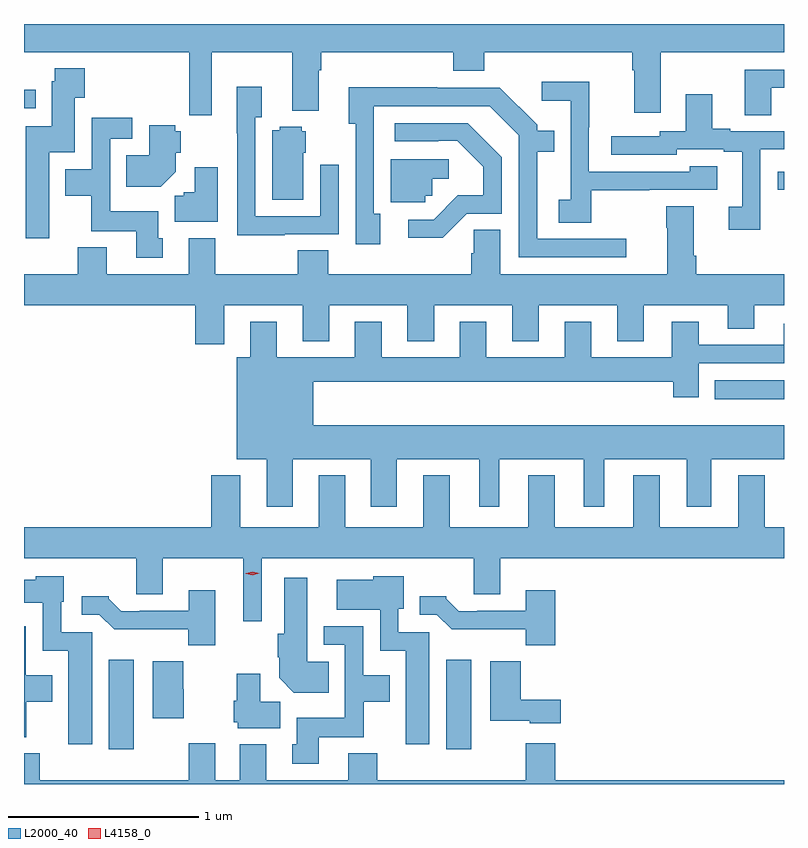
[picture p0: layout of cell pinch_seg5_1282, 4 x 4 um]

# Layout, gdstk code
import gdstk
lib = gdstk.Library(unit=1e-6, precision=1e-09)
def R(c, l, rs):  # rectangles x0, y0, x1, y1
    for r in rs: c.add(gdstk.rectangle(r[:2], r[2:], *l))
def P(c, l, *ps):  # polygons
    for p in ps: c.add(gdstk.Polygon(p, *l))
L2000_40 = (2000, 40)
L4158_0 = (4158, 0)

pinch_seg5_1282 = lib.new_cell('pinch_seg5_1282')
R(pinch_seg5_1282, L2000_40, [(394.235,857.088,394.366,857.557), (396.011,857.088,396.142,857.557), (397.424,858.929,397.789,859.03), (397.755,860.031,397.789,860.126), (393.789,860.46,393.85,860.557)])
P(pinch_seg5_1282, L2000_40, [(394.777,860.756),(395.201,860.756),(395.201,860.447),(395.341,860.447),(395.341,860.66),(395.354,860.66),(395.354,860.756),(396.047,860.756),(396.047,860.657),(396.212,860.657),(396.212,860.756),(396.989,860.756),(396.989,860.66),(397.001,860.66),(397.001,860.436),(397.141,860.436),(397.141,860.756),(397.789,860.756),(397.789,860.904),(393.789,860.904),(393.789,860.756),(394.66,860.756),(394.66,860.424),(394.777,860.424)],
  [(393.922,860.228),(394.057,860.228),(394.057,860.515),(394.109,860.515),(394.109,860.671),(393.952,860.671),(393.952,860.604),(393.935,860.604),(393.935,860.367),(393.797,860.367),(393.797,859.776),(393.922,859.776)],
  [(397.723,860.568),(397.789,860.568),(397.789,860.664),(397.583,860.664),(397.583,860.425),(397.723,860.425)],
  [(396.775,860.029),(397.079,860.029),(397.079,860.031),(397.438,860.031),(397.438,860.155),(397.293,860.155),(397.293,860.127),(396.762,860.127),(396.762,860.36),(396.765,860.36),(396.765,860.599),(396.513,860.599),(396.513,860.501),(396.666,860.501),(396.666,859.98),(396.603,859.98),(396.603,859.858),(396.775,859.858)],
  [(395.161,859.797),(395.445,859.797),(395.445,860.164),(395.349,860.164),(395.349,859.893),(395.007,859.893),(395.007,860.414),(395.041,860.414),(395.041,860.575),(394.91,860.575),(394.91,860.33),(394.911,860.33),(394.911,859.793),(395.161,859.793)],
  [(396.958,859.773),(396.49,859.773),(396.49,860.232),(396.581,860.232),(396.581,860.341),(396.489,860.341),(396.489,860.373),(396.294,860.568),(395.963,860.568),(395.963,860.57),(395.498,860.57),(395.498,860.378),(395.535,860.378),(395.535,859.746),(395.665,859.746),(395.665,859.906),(395.631,859.906),(395.631,860.472),(396.24,860.472),(396.393,860.319),(396.393,859.677),(396.958,859.677)],
  [(397.665,860.244),(397.789,860.244),(397.789,860.34),(397.507,860.34),(397.507,860.353),(397.411,860.353),(397.411,860.533),(397.271,860.533),(397.271,860.34),(397.134,860.34),(397.134,860.313),(396.879,860.313),(396.879,860.217),(397.224,860.217),(397.224,860.244),(397.472,860.244),(397.472,860.232),(397.568,860.232),(397.568,859.941),(397.497,859.941),(397.497,859.821),(397.665,859.821)],
  [(394.519,859.776),(394.495,859.776),(394.495,859.918),(394.242,859.918),(394.242,860.301),(394.36,860.301),(394.36,860.41),(394.146,860.41),(394.146,860.14),(394.007,860.14),(394.007,860),(394.144,860),(394.144,859.814),(394.379,859.814),(394.379,859.674),(394.519,859.674)],
  [(396.12,859.905),(396.303,859.905),(396.303,860.203),(396.124,860.382),(395.739,860.382),(395.739,860.286),(395.969,860.286),(395.969,860.289),(396.069,860.289),(396.206,860.152),(396.206,860.002),(396.073,860.002),(395.946,859.875),(395.811,859.875),(395.811,859.778),(395.992,859.778)],
  [(394.588,860.126),(394.588,860.226),(394.614,860.226),(394.614,860.34),(394.584,860.34),(394.584,860.37),(394.448,860.37),(394.448,860.212),(394.327,860.212),(394.327,860.048),(394.51,860.048)],
  [(395.26,860.226),(395.272,860.226),(395.272,860.34),(395.25,860.34),(395.25,860.362),(395.136,860.362),(395.136,860.344),(395.096,860.344),(395.096,859.978),(395.26,859.978)],
  [(395.901,860.001),(395.937,860.001),(395.937,860.09),(396.025,860.09),(396.025,860.193),(395.72,860.193),(395.72,859.965),(395.901,859.965)],
  [(394.81,860.149),(394.688,860.149),(394.688,860.018),(394.629,860.018),(394.629,860),(394.583,860),(394.583,859.862),(394.81,859.862)],
  [(394.843,859.424),(395.255,859.424),(395.255,859.235),(395.395,859.235),(395.395,859.424),(395.807,859.424),(395.807,859.235),(395.947,859.235),(395.947,859.424),(396.359,859.424),(396.359,859.235),(396.499,859.235),(396.499,859.424),(396.911,859.424),(396.911,859.235),(397.051,859.235),(397.051,859.424),(397.493,859.424),(397.493,859.3),(397.633,859.3),(397.633,859.424),(397.789,859.424),(397.789,859.588),(397.328,859.588),(397.328,859.684),(397.315,859.684),(397.315,859.945),(397.168,859.945),(397.168,859.832),(397.175,859.832),(397.175,859.588),(396.295,859.588),(396.295,859.82),(396.157,859.82),(396.157,859.698),(396.143,859.698),(396.143,859.588),(395.39,859.588),(395.39,859.712),(395.23,859.712),(395.23,859.588),(394.795,859.588),(394.795,859.777),(394.655,859.777),(394.655,859.588),(394.225,859.588),(394.225,859.729),(394.073,859.729),(394.073,859.588),(393.789,859.588),(393.789,859.424),(394.691,859.424),(394.691,859.218),(394.843,859.218)],
  [(395.203,858.614),(395.615,858.614),(395.615,858.363),(395.752,858.363),(395.752,858.614),(396.185,858.614),(396.185,858.363),(396.289,858.363),(396.289,858.614),(396.734,858.614),(396.734,858.363),(396.844,858.363),(396.844,858.614),(397.277,858.614),(397.277,858.363),(397.405,858.363),(397.405,858.614),(397.789,858.614),(397.789,858.793),(395.311,858.793),(395.311,859.022),(397.205,859.022),(397.205,858.939),(397.339,858.939),(397.339,859.119),(397.789,859.119),(397.789,859.327),(397.787,859.327),(397.787,859.215),(397.339,859.215),(397.339,859.336),(397.199,859.336),(397.199,859.15),(396.775,859.15),(396.775,859.336),(396.635,859.336),(396.635,859.15),(396.223,859.15),(396.223,859.336),(396.083,859.336),(396.083,859.15),(395.671,859.15),(395.671,859.336),(395.531,859.336),(395.531,859.15),(395.119,859.15),(395.119,859.336),(394.979,859.336),(394.979,859.15),(394.91,859.15),(394.91,858.614),(395.066,858.614),(395.066,858.363),(395.203,858.363)],
  [(395.04,858.092),(396.155,858.092),(396.155,857.902),(396.295,857.902),(396.295,858.092),(397.789,858.092),(397.789,858.256),(397.687,858.256),(397.687,858.529),(397.547,858.529),(397.547,858.256),(397.135,858.256),(397.135,858.529),(396.995,858.529),(396.995,858.256),(396.583,858.256),(396.583,858.529),(396.443,858.529),(396.443,858.256),(396.031,858.256),(396.031,858.529),(395.891,858.529),(395.891,858.256),(395.479,858.256),(395.479,858.529),(395.339,858.529),(395.339,858.256),(394.927,858.256),(394.927,858.529),(394.775,858.529),(394.775,858.256),(393.789,858.256),(393.789,858.092),(394.379,858.092),(394.379,857.902),(394.519,857.902),(394.519,858.092),(394.943,858.092),(394.943,857.76),(395.04,857.76)],
  [(395.923,857.703),(395.76,857.703),(395.76,857.826),(395.788,857.826),(395.788,857.998),(395.628,857.998),(395.628,857.98),(395.436,857.98),(395.436,857.822),(395.664,857.822),(395.664,857.606),(395.798,857.606),(395.798,857.112),(395.923,857.112)],
  [(394.147,857.703),(393.984,857.703),(393.984,857.862),(393.997,857.862),(393.997,857.998),(393.852,857.998),(393.852,857.98),(393.789,857.98),(393.789,857.858),(393.888,857.858),(393.888,857.606),(394.022,857.606),(394.022,857.112),(394.147,857.112)],
  [(395.393,857.548),(395.281,857.548),(395.281,857.989),(395.159,857.989),(395.159,857.694),(395.125,857.694),(395.125,857.572),(395.132,857.572),(395.132,857.462),(395.21,857.384),(395.393,857.384)],
  [(394.795,857.923),(394.655,857.923),(394.655,857.817),(394.399,857.817),(394.399,857.814),(394.3,857.814),(394.236,857.878),(394.236,857.893),(394.092,857.893),(394.092,857.796),(394.185,857.796),(394.264,857.718),(394.653,857.718),(394.653,857.633),(394.795,857.633)],
  [(396.584,857.923),(396.431,857.923),(396.431,857.817),(396.175,857.817),(396.175,857.814),(396.076,857.814),(396.012,857.878),(396.012,857.893),(395.873,857.893),(395.873,857.796),(395.961,857.796),(396.04,857.718),(396.429,857.718),(396.429,857.633),(396.584,857.633)],
  [(395.341,857.15),(395.577,857.15),(395.577,857.336),(395.713,857.336),(395.713,857.476),(395.574,857.476),(395.574,857.733),(395.366,857.733),(395.366,857.637),(395.478,857.637),(395.478,857.254),(395.225,857.254),(395.225,857.112),(395.201,857.112),(395.201,857.01),(395.341,857.01)],
  [(393.801,857.336),(393.937,857.336),(393.937,857.476),(393.798,857.476),(393.798,857.733),(393.789,857.733),(393.789,857.15),(393.801,857.15)],
  [(394.63,857.403),(394.628,857.403),(394.628,857.551),(394.466,857.551),(394.466,857.25),(394.63,857.25)],
  [(396.613,857.347),(396.404,857.347),(396.404,857.551),(396.242,857.551),(396.242,857.237),(396.45,857.237),(396.45,857.225),(396.613,857.225)],
  [(395.137,857.336),(395.032,857.336),(395.032,857.485),(394.91,857.485),(394.91,857.343),(394.892,857.343),(394.892,857.229),(394.914,857.229),(394.914,857.198),(395.137,857.198)],
  [(397.789,856.924),(396.584,856.924),(396.584,857.119),(396.431,857.119),(396.431,856.924),(395.648,856.924),(395.648,857.065),(395.495,857.065),(395.495,856.924),(395.065,856.924),(395.065,857.113),(394.925,857.113),(394.925,856.924),(394.795,856.924),(394.795,857.119),(394.655,857.119),(394.655,856.924),(393.872,856.924),(393.872,857.065),(393.789,857.065),(393.789,856.904),(397.789,856.904)])
P(pinch_seg5_1282, L4158_0, [(394.992,858.002),(394.957,858.011),(394.957,858.012),(394.957,858.012),(394.992,858.022),(395.027,858.013),(395.027,858.013),(395.027,858.013)])

lib.write_gds('pinch_seg5_1282.gds')
